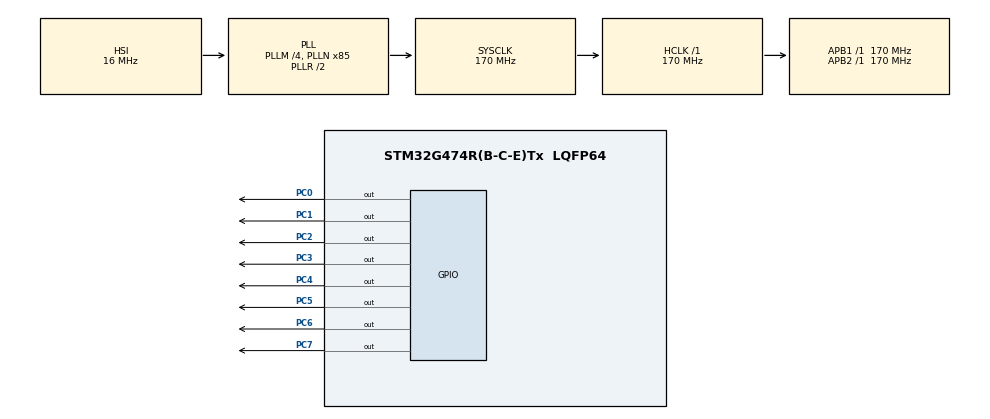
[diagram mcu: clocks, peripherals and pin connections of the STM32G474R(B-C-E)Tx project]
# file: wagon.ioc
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Mcu.Family=STM32G4
Mcu.Name=STM32G474R(B-C-E)Tx
Mcu.Package=LQFP64
NUCLEO-G474RE.BUTTON=1
NUCLEO-G474RE.LD2=true
NUCLEO-G474RE.VCP=true
NVIC.EXTI15_10_IRQn=true\:0\:0\:false\:false\:true\:false\:true\:true
NVIC.PriorityGroup=NVIC_PRIORITYGROUP_4
PA13.GPIO_Label=T_SWDIO
PA13.Signal=SYS_JTMS-SWDIO
PA14.GPIO_Label=T_SWCLK
PA14.Signal=SYS_JTCK-SWCLK
PA2.Signal=LPUART1_TX
PA3.Signal=LPUART1_RX
PB3.GPIO_Label=T_SWO
PB3.Signal=SYS_JTDO-SWO
PC0.Signal=GPIO_Output
PC1.Signal=GPIO_Output
PC14-OSC32_IN.GPIO_Label=RCC_OSC32_IN
PC14-OSC32_IN.Signal=RCC_OSC32_IN
PC15-OSC32_OUT.GPIO_Label=RCC_OSC32_OUT
PC15-OSC32_OUT.Signal=RCC_OSC32_OUT
PC2.Signal=GPIO_Output
PC3.Signal=GPIO_Output
PC4.Signal=GPIO_Output
PC5.Signal=GPIO_Output
PC6.Signal=GPIO_Output
PC7.Signal=GPIO_Output
PF0-OSC_IN.GPIO_Label=RCC_OSC_IN
PF0-OSC_IN.Signal=RCC_OSC_IN
PF1-OSC_OUT.GPIO_Label=RCC_OSC_OUT
PF1-OSC_OUT.Signal=RCC_OSC_OUT
ProjectManager.HeapSize=0x200
ProjectManager.StackSize=0x400
ProjectManager.TargetToolchain=STM32CubeIDE
RCC.ADC12Freq_Value=170000000
RCC.ADC345Freq_Value=170000000
RCC.AHBFreq_Value=170000000
RCC.APB1Freq_Value=170000000
RCC.APB1TimFreq_Value=170000000
RCC.APB2Freq_Value=170000000
RCC.APB2TimFreq_Value=170000000
RCC.CortexFreq_Value=170000000
RCC.EXTERNAL_CLOCK_VALUE=12288000
RCC.HCLKFreq_Value=170000000
RCC.HSE_VALUE=24000000
RCC.HSI48_VALUE=48000000
RCC.HSI_VALUE=16000000
RCC.LSE_VALUE=32768
RCC.PLLM=RCC_PLLM_DIV4
RCC.PLLN=85
RCC.RTCClockSelection=RCC_RTCCLKSOURCE_LSE
RCC.SYSCLKFreq_VALUE=170000000
RCC.SYSCLKSource=RCC_SYSCLKSOURCE_PLLCLK
RCC.USBFreq_Value=170000000
RCC.VCOOutputFreq_Value=340000000
VP_NUCLEO-G474RE_VS_BSP_COMMON.Mode=COMMON
VP_SYS_VS_DBSignals.Mode=DisableDeadBatterySignals
board=NUCLEO-G474RE

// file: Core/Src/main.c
/* USER CODE BEGIN Header */
/**
  ******************************************************************************
  * @file           : main.c
  * @brief          : Main program body
  ******************************************************************************
  * @attention
  *
  * Copyright (c) 2026 STMicroelectronics.
  * All rights reserved.
  *
  * This software is licensed under terms that can be found in the LICENSE file
  * in the root directory of this software component.
  * If no LICENSE file comes with this software, it is provided AS-IS.
  *
  ******************************************************************************
  */
/* USER CODE END Header */
#include "main.h"
#include "gpio.h"

COM_InitTypeDef BspCOMInit;

void SystemClock_Config(void);

int main(void)
{

  /* MCU Configuration--------------------------------------------------------*/

  /* Reset of all peripherals, Initializes the Flash interface and the Systick. */
  HAL_Init();

  /* Configure the system clock */
  SystemClock_Config();

  /* Initialize all configured peripherals */
  MX_GPIO_Init();

  /* Initialize led */
  BSP_LED_Init(LED_GREEN);

  /* Initialize USER push-button, will be used to trigger an interrupt each time it's pressed.*/
  BSP_PB_Init(BUTTON_USER, BUTTON_MODE_EXTI);

  /* Initialize COM1 port (115200, 8 bits (7-bit data + 1 stop bit), no parity */
  BspCOMInit.BaudRate   = 115200;
  BspCOMInit.WordLength = COM_WORDLENGTH_8B;
  BspCOMInit.StopBits   = COM_STOPBITS_1;
  BspCOMInit.Parity     = COM_PARITY_NONE;
  BspCOMInit.HwFlowCtl  = COM_HWCONTROL_NONE;
  if (BSP_COM_Init(COM1, &BspCOMInit) != BSP_ERROR_NONE)
  {
    Error_Handler();
  }

  /* Infinite loop */
  /* USER CODE BEGIN WHILE */

  uint16_t wagon_position = GPIO_PIN_0;
  uint8_t direction = 1;

  while (1)
  {
      /* Σβήσιμο όλων των LEDs */
      HAL_GPIO_WritePin(WAGON_PORT, WAGON_LED_MASK, GPIO_PIN_RESET);

      /* Άναμμα του LED που δείχνει τη θέση του βαγονιού */
      HAL_GPIO_WritePin(WAGON_PORT, wagon_position, GPIO_PIN_SET);

      /* Κανονική καθυστέρηση 2 δευτερολέπτων */
      HAL_Delay(2000);

      if (direction == 1)
      {
          if (wagon_position == GPIO_PIN_7)
          {
              /*
               * Το βαγονέτο βρίσκεται στο δεξί άκρο.
               * Περιμένει επιπλέον 1 sec, άρα συνολικά 3 sec.
               */
              HAL_Delay(1000);

              direction = 0;
              wagon_position >>= 1;
          }
          else
          {
              wagon_position <<= 1;
          }
      }
      else
      {
          if (wagon_position == GPIO_PIN_0)
          {
              /*
               * Το βαγονέτο βρίσκεται στο αριστερό άκρο.
               * Περιμένει επιπλέον 1 sec, άρα συνολικά 3 sec.
               */
              HAL_Delay(1000);

              direction = 1;
              wagon_position <<= 1;
          }
          else
          {
              wagon_position >>= 1;
          }
      }
  }

    /* USER CODE END WHILE */

}

void SystemClock_Config(void)
{
  RCC_OscInitTypeDef RCC_OscInitStruct = {0};
  RCC_ClkInitTypeDef RCC_ClkInitStruct = {0};

  /** Configure the main internal regulator output voltage
  */
  HAL_PWREx_ControlVoltageScaling(PWR_REGULATOR_VOLTAGE_SCALE1_BOOST);

  /** Initializes the RCC Oscillators according to the specified parameters
  * in the RCC_OscInitTypeDef structure.
  */
  RCC_OscInitStruct.OscillatorType = RCC_OSCILLATORTYPE_HSI;
  RCC_OscInitStruct.HSIState = RCC_HSI_ON;
  RCC_OscInitStruct.HSICalibrationValue = RCC_HSICALIBRATION_DEFAULT;
  RCC_OscInitStruct.PLL.PLLState = RCC_PLL_ON;
  RCC_OscInitStruct.PLL.PLLSource = RCC_PLLSOURCE_HSI;
  RCC_OscInitStruct.PLL.PLLM = RCC_PLLM_DIV4;
  RCC_OscInitStruct.PLL.PLLN = 85;
  RCC_OscInitStruct.PLL.PLLP = RCC_PLLP_DIV2;
  RCC_OscInitStruct.PLL.PLLQ = RCC_PLLQ_DIV2;
  RCC_OscInitStruct.PLL.PLLR = RCC_PLLR_DIV2;
  if (HAL_RCC_OscConfig(&RCC_OscInitStruct) != HAL_OK)
  {
    Error_Handler();
  }

  /** Initializes the CPU, AHB and APB buses clocks
  */
  RCC_ClkInitStruct.ClockType = RCC_CLOCKTYPE_HCLK|RCC_CLOCKTYPE_SYSCLK
                              |RCC_CLOCKTYPE_PCLK1|RCC_CLOCKTYPE_PCLK2;
  RCC_ClkInitStruct.SYSCLKSource = RCC_SYSCLKSOURCE_PLLCLK;
  RCC_ClkInitStruct.AHBCLKDivider = RCC_SYSCLK_DIV1;
  RCC_ClkInitStruct.APB1CLKDivider = RCC_HCLK_DIV1;
  RCC_ClkInitStruct.APB2CLKDivider = RCC_HCLK_DIV1;

  if (HAL_RCC_ClockConfig(&RCC_ClkInitStruct, FLASH_LATENCY_4) != HAL_OK)
  {
    Error_Handler();
  }
}

void Error_Handler(void)
{
  __disable_irq();
  while (1)
  {
  }
}
